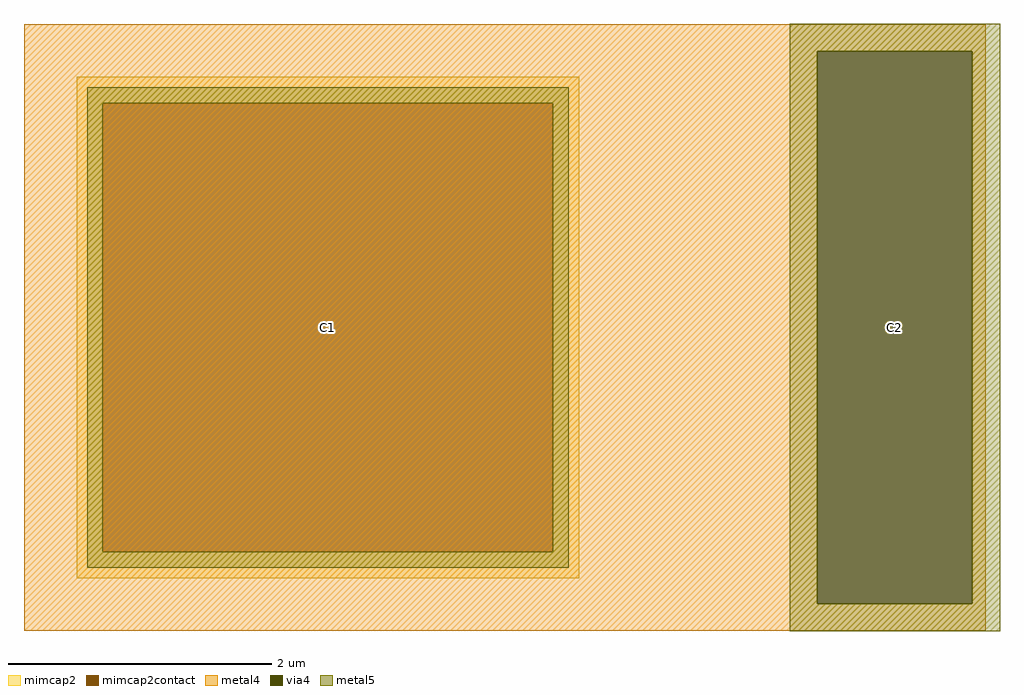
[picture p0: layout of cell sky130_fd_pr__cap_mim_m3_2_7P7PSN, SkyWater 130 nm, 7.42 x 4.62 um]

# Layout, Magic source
magic
tech sky130A
magscale 1 2
<< metal4 >>
rect -731 420 731 461
rect -731 -420 475 420
rect 711 -420 731 420
rect -731 -461 731 -420
<< via4 >>
rect 475 -420 711 420
<< mimcap2 >>
rect -651 341 113 381
rect -651 -341 -611 341
rect 73 -341 113 341
rect -651 -381 113 -341
<< mimcap2contact >>
rect -611 -341 73 341
<< metal5 >>
rect 433 420 753 462
rect -635 341 97 365
rect -635 -341 -611 341
rect 73 -341 97 341
rect -635 -365 97 -341
rect 433 -420 475 420
rect 711 -420 753 420
rect 433 -462 753 -420
<< labels >>
rlabel via4 593 0 593 0 0 C2
port 3 nsew
rlabel mimcap2contact -269 0 -269 0 0 C1
port 4 nsew
<< properties >>
string FIXED_BBOX -731 -461 193 461
string gencell sky130_fd_pr__cap_mim_m3_2
string library sky130
string parameters w 3.82 l 3.81 val 32.007 carea 2.00 cperi 0.19 class capacitor nx 1 ny 1 dummy 0 square 0 lmin 2.00 wmin 2.00 lmax 30.0 wmax 30.0 dc 0 bconnect 1 tconnect 1 ccov 100 doports 1
<< end >>
